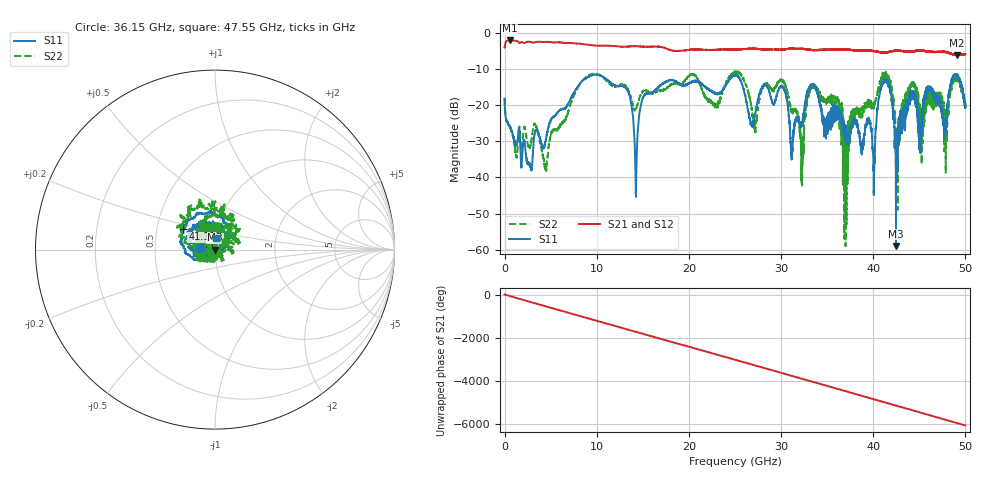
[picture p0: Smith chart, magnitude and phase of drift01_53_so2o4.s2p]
!Created with skrf (http://scikit-rf.org).
# Hz S RI R 50.0
!freq ReS11 ImS11 ReS21 ImS21 ReS12 ImS12 ReS22 ImS22
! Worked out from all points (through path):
!   10001 points, 300 kHz to 50 GHz, reference 50 ohm
!   highest |S21| = -2.00 dB at 580.3 MHz (marker M1); lowest = -6.1 dB at 49.05 GHz (marker M2)
!   group delay of S21, straight-line fit = 336 ps
!   lowest |S11| = -59.0 dB at 42.47 GHz (marker M3), VSWR 1.00, Z = 50 - j0.111 ohm
!   |S11| at or under -10 dB: start of sweep to end of sweep
!   |S22| runs from -59.0 to -10.5 dB; largest |S21 - S12| = 0.021
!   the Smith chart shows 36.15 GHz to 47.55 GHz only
!   S11 on the Smith chart (normalised r, x): 36.15 GHz: 0.85, +0.02; 41.11 GHz: 0.68, +0.16; 47.55 GHz: 1.01, +0.13
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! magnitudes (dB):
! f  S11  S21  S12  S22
! 300 kHz  -18.2  -4.0  -4.0  -17.9
! 580.3 MHz  -26.0  -2.0  -2.0  -26.0
! 4.435 GHz  -30.0  -2.4  -2.4  -37.1
! 8.335 GHz  -13.5  -3.0  -3.0  -13.5
! 13.17 GHz  -15.2  -3.7  -3.7  -14.6
! 14.25 GHz  -45.3  -3.6  -3.6  -21.1
! 16.67 GHz  -14.9  -3.7  -3.7  -15.9
! 25 GHz  -11.6  -4.5  -4.5  -11.0
! 27.14 GHz  -22.6  -4.3  -4.3  -25.8
! 30.2 GHz  -15.0  -4.5  -4.5  -13.4
! 32.25 GHz  -25.1  -4.3  -4.3  -37.8
! 33.34 GHz  -14.3  -4.6  -4.6  -14.7
! 36.15 GHz  -21.7  -4.5  -4.5  -20.5
! 37.07 GHz  -30.2  -4.6  -4.5  -33.2
! 40.06 GHz  -44.2  -4.9  -5.0  -20.4
! 41.11 GHz  -13.4  -5.3  -5.4  -12.6
! 41.67 GHz  -14.4  -5.1  -5.1  -12.3
! 42.47 GHz  -59.0  -4.8  -4.8  -32.5
! 44.17 GHz  -16.4  -5.0  -5.1  -14.0
! 47.55 GHz  -23.7  -5.1  -5.1  -23.2
! 49.05 GHz  -11.5  -6.1  -6.1  -12.4
! 50 GHz  -20.4  -5.8  -5.8  -19.5
